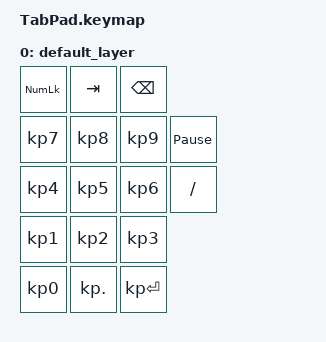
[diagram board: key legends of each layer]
#include <behaviors.dtsi>
#include <dt-bindings/zmk/keys.h>

/ {
    keymap {
        compatible = "zmk,keymap";

        default_layer {
            bindings = <
                &kp KP_NUMLOCK    &kp TAB    &kp BACKSPACE    
                &kp KP_N7    &kp KP_N8    &kp KP_N9    &kp PAUSE_BREAK
                &kp KP_N4    &kp KP_N5    &kp KP_N6    &kp FSLH     
                &kp KP_N1    &kp KP_N2    &kp KP_N3   
                &kp KP_N0    &kp KP_DOT    &kp KP_ENTER
            >;
        };
    };
};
